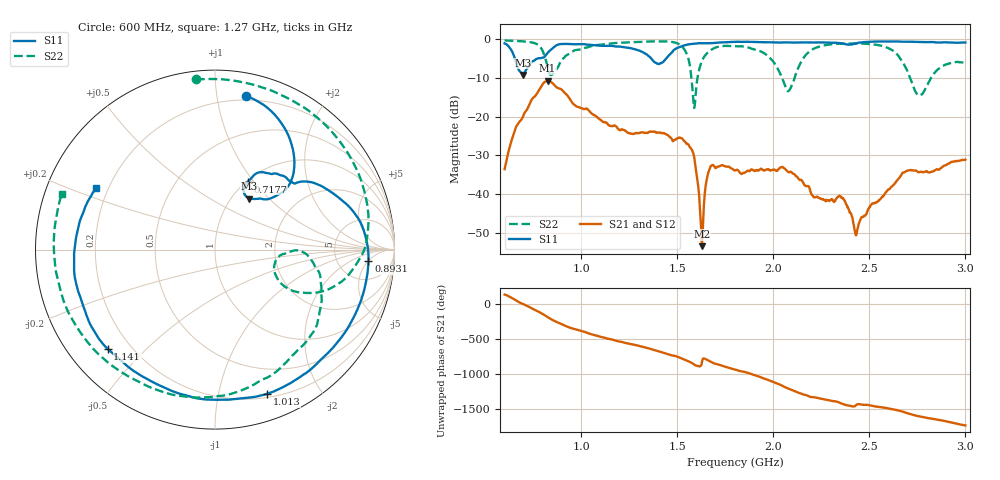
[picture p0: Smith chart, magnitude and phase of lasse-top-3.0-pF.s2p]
#  HZ  S  RI  R  50.00
! Rohde & Schwarz ZVB8 2Ports - Version 2.81 - 1145.1010k08 SN: 100113
! Date: 2016-03-31 04:25:29
! Measurements: S11 S21 S12 S22
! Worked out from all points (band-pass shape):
!   1000 points, 600 MHz to 3 GHz, reference 50 ohm
!   highest |S21| = -10.80 dB at 823.4 MHz (marker M1); lowest = -53.4 dB at 1.628 GHz (marker M2)
!   |S21| within 3 dB of the highest: 772.1 MHz to 910.8 MHz (138.7 MHz wide, 16.5 % of centre)
!   lowest |S11| = -9.3 dB at 696.1 MHz (marker M3), VSWR 2.04, Z = 60 + j38.6 ohm
!   |S11| at or under -10 dB: nowhere
!   |S22| runs from -17.8 to -0.4 dB; largest |S21 - S12| = 0.0028
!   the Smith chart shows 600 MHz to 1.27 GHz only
!   S11 on the Smith chart (normalised r, x): 600 MHz: 0.17, +1.21; 717.7 MHz: 1.02, +0.93; 893.1 MHz: 11, -5; 1.013 GHz: 0.23, -1.39; 1.141 GHz: 0.12, -0.39; 1.27 GHz: 0.15, +0.24
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6e8  0.1747 0.8564  -0.016 0.0137  -0.016 0.0137  -0.1058 0.9478
6.960961e8  0.1906 0.284  0.1003 0.00755  0.1002 0.00756  0.6004 0.7083
7.177177e8  0.1829 0.3786  0.1129 -0.0525  0.1131 -0.0519  0.7168 0.5729
8.234234e8  0.5372 0.3754  -0.2878 0.0176  -0.2877 0.0171  0.3867 -0.2044
8.930931e8  0.8551 -0.064  0.0444 0.2218  0.0439 0.2218  0.5153 -0.031
1.001201e9  0.3828 -0.764  0.1162 -0.0539  0.1161 -0.0535  0.407 -0.6165
1.013213e9  0.2883 -0.804  0.103 -0.0702  0.103 -0.0701  0.3531 -0.6697
1.140541e9  -0.5978 -0.5538  -0.0564 -0.0537  -0.0563 -0.0538  -0.5707 -0.6489
1.27027e9  -0.6624 0.3432  -0.0462 0.0378  -0.0461 0.0377  -0.8526 0.3119
1.4e9  -0.1168 0.462  0.0436 0.0445  0.0434 0.0446  -0.0838 0.925
1.512913e9  0.2478 0.7494  0.0358 -0.0401  0.0357 -0.04  0.7286 0.419
1.570571e9  0.6307 0.581  -0.0175 -0.0349  -0.0174 -0.035  0.3352 -0.1135
1.628228e9  0.8512 0.2332  -0.000581 -0.00207  -0.000605 -0.00208  0.3412 0.4003
1.673874e9  0.8775 -0.0809  -0.00631 -0.0223  -0.00636 -0.0222  0.6495 0.2959
1.801201e9  0.3777 -0.8346  -0.0158 0.0128  -0.0158 0.0128  0.6368 -0.4888
2.005405e9  -0.8851 -0.1548  0.0147 -0.0146  0.0148 -0.0145  -0.3487 -0.3398
2.07988e9  -0.8013 0.4102  -0.0131 -0.0141  -0.013 -0.0141  -0.1203 -0.1782
2.2e9  -0.1273 0.889  -0.00272 0.00947  -0.00271 0.00943  -0.6319 -0.3518
2.409009e9  0.8045 0.2679  0.0046 -0.00227  0.00455 -0.00226  -0.1361 0.8613
2.601201e9  0.5449 -0.7475  0.00584 -0.01  0.00588 -0.00999  0.7477 0.0962
2.834234e9  -0.7798 -0.4585  -0.0174 0.00925  -0.0174 0.00925  0.3527 0.013
3e9  -0.6421 0.6274  0.0147 0.0237  0.0147 0.0238  0.2583 -0.4208
